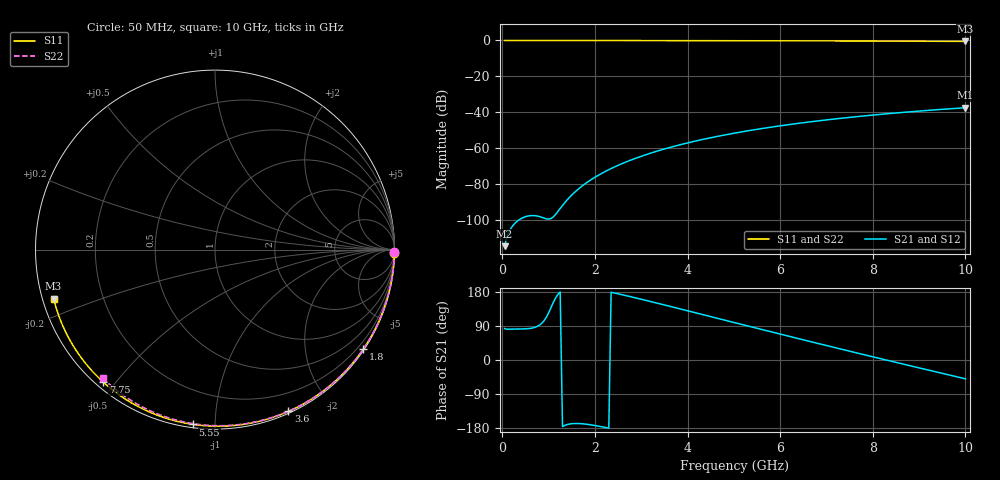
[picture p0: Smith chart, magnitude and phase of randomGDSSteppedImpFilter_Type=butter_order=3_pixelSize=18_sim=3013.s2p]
! freq	dB(S11)	phase(S11)	dB(S12)	phase(S12)
!  dB(S21)	phase(S21)	dB(S22)	phase(S22)
!S-par simulation data
#  GHz  S  DB  R 50
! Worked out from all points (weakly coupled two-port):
!   200 points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, 50 MHz to 10 GHz, reference 50 ohm
!   highest |S21| = -37.44 dB at 10 GHz (marker M1); lowest = -114.5 dB at 50 MHz (marker M2)
!   lowest |S11| = -0.5 dB at 10 GHz (marker M3), VSWR 32.23, Z = 1.59 - j7.42 ohm
!   |S11| at or under -10 dB: nowhere
!   |S22| runs from -0.4 to 0.0 dB; largest |S21 - S12| = 0
!   S11 on the Smith chart (normalised r, x): 50 MHz: open; 1.8 GHz: 0.03, -3.30; 3.6 GHz: 0.02, -1.55; 5.55 GHz: 0.02, -0.88; 7.75 GHz: 0.02, -0.46; 10 GHz: 0.03, -0.15
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0.05  -0.00 -1.0  -114.50 83.0  -114.50 83.0  -0.00 -0.8
0.45  -0.01 -8.6  -98.58 81.9  -98.58 81.9  -0.01 -6.8
0.85  -0.02 -16.1  -98.41 96.6  -98.41 96.6  -0.02 -12.8
1.3  -0.03 -24.5  -91.84 -175.9  -91.84 -175.9  -0.02 -19.5
1.75  -0.04 -32.8  -80.49 -168.6  -80.49 -168.6  -0.03 -26.2
1.8  -0.04 -33.8  -79.55 -169.2  -79.55 -169.2  -0.03 -26.9
1.95  -0.05 -36.5  -76.95 -171.8  -76.95 -171.8  -0.04 -29.1
2.1  -0.05 -39.2  -74.64 -175.0  -74.64 -175.0  -0.04 -31.3
2.3  -0.06 -42.8  -71.92 -179.9  -71.92 -179.9  -0.04 -34.2
2.5  -0.06 -46.4  -69.51 174.7  -69.51 174.7  -0.05 -37.1
2.9  -0.07 -53.5  -65.38 163.3  -65.38 163.3  -0.06 -42.8
3.4  -0.08 -62.2  -61.16 148.3  -61.16 148.3  -0.07 -49.8
3.6  -0.09 -65.6  -59.69 142.2  -59.69 142.2  -0.07 -52.6
4.3  -0.11 -77.3  -55.25 120.7  -55.25 120.7  -0.09 -62.1
5.05  -0.14 -89.4  -51.42 97.5  -51.42 97.5  -0.11 -72.1
5.55  -0.16 -97.2  -49.25 82.1  -49.25 82.1  -0.13 -78.6
6.1  -0.19 -105.7  -47.15 65.3  -47.15 65.3  -0.15 -85.5
6.7  -0.22 -114.7  -45.13 47.2  -45.13 47.2  -0.18 -92.9
7.75  -0.30 -130.2  -42.15 15.8  -42.15 15.8  -0.24 -105.5
8.35  -0.35 -138.9  -40.70 -1.9  -40.70 -1.9  -0.29 -112.5
9.2  -0.44 -151.3  -38.90 -26.6  -38.90 -26.6  -0.36 -122.2
10  -0.54 -163.1  -37.44 -49.7  -37.44 -49.7  -0.44 -131.2
